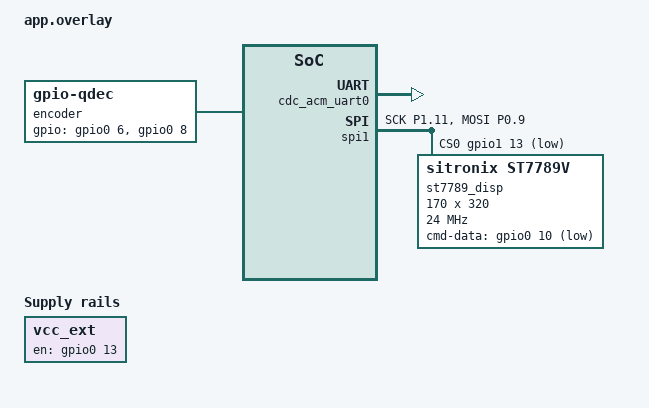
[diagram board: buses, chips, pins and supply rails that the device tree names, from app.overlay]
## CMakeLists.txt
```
cmake_minimum_required(VERSION 3.20.0)
find_package(Zephyr REQUIRED HINTS $ENV{ZEPHYR_BASE})
project(ai_pager)
target_sources(app PRIVATE src/main.c)
```

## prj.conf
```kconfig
# Hardware drivers
CONFIG_GPIO=y
CONFIG_SPI=y
CONFIG_DISPLAY=y
CONFIG_ST7789V=y
CONFIG_INPUT=y
CONFIG_INPUT_GPIO_QDEC=y
CONFIG_PWM=y

# USB CDC console
CONFIG_USB_DEVICE_STACK=y
CONFIG_USB_DEVICE_PRODUCT="AI Pager"
CONFIG_USB_DEVICE_VID=0x2FE3
CONFIG_USB_DEVICE_PID=0x0100
CONFIG_SERIAL=y
CONFIG_CONSOLE=y
CONFIG_UART_CONSOLE=y
CONFIG_UART_LINE_CTRL=y

# Memory and threads
CONFIG_MAIN_STACK_SIZE=4096
CONFIG_SYSTEM_WORKQUEUE_STACK_SIZE=2048
CONFIG_HEAP_MEM_POOL_SIZE=16384

# LVGL graphics
CONFIG_LVGL=y
CONFIG_LV_Z_MEM_POOL_SIZE=16384
CONFIG_LV_COLOR_DEPTH_16=y
CONFIG_LV_FONT_MONTSERRAT_14=y
```

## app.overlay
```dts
#include <zephyr/dt-bindings/input/input-event-codes.h>

/* Disable board peripherals that are not used by this application. */
&{/leds} { status = "disabled"; };
&{/buttons} { status = "disabled"; };
&{/pwmleds} { status = "disabled"; };

&uart0 { status = "disabled"; };
&uart1 { status = "disabled"; };
&i2c0 { status = "disabled"; };
&i2c1 { status = "disabled"; };
&spi0 { status = "disabled"; };
&spi2 { status = "disabled"; };
&spi3 { status = "disabled"; };
&qspi { status = "disabled"; };

/ {
    chosen {
        zephyr,display = &st7789_disp;
        zephyr,console = &cdc_acm_uart0;
    };

    vcc_ext: vcc_ext_regulator {
        compatible = "regulator-fixed";
        regulator-name = "vcc_ext";
        enable-gpios = <&gpio0 13 GPIO_ACTIVE_HIGH>;
        startup-delay-us = <10000>;
        regulator-always-on;
    };

    encoder: encoder {
        compatible = "gpio-qdec";
        gpios = <&gpio0 6 (GPIO_ACTIVE_HIGH | GPIO_PULL_UP)>,
                <&gpio0 8 (GPIO_ACTIVE_HIGH | GPIO_PULL_UP)>;
        steps-per-period = <4>;
        zephyr,axis = <INPUT_REL_WHEEL>;
        sample-time-us = <2000>;
        idle-timeout-ms = <200>;
    };
};

&zephyr_udc0 {
    cdc_acm_uart0: cdc_acm_uart0 {
        compatible = "zephyr,cdc-acm-uart";
    };
};

&pinctrl {
    spi1_custom_default: spi1_custom_default {
        group1 {
            psels = <NRF_PSEL(SPIM_SCK, 1, 11)>,
                    <NRF_PSEL(SPIM_MOSI, 0, 9)>;
        };
    };
    spi1_custom_sleep: spi1_custom_sleep {
        group1 {
            psels = <NRF_PSEL(SPIM_SCK, 1, 11)>,
                    <NRF_PSEL(SPIM_MOSI, 0, 9)>;
            low-power-enable;
        };
    };
};

&spi1 {
    status = "okay";
    cs-gpios = <&gpio1 13 GPIO_ACTIVE_LOW>;
    pinctrl-0 = <&spi1_custom_default>;
    pinctrl-1 = <&spi1_custom_sleep>;
    pinctrl-names = "default", "sleep";

    st7789_disp: st7789@0 {
        compatible = "sitronix,st7789v";
        reg = <0>;
        spi-max-frequency = <24000000>;
        cmd-data-gpios = <&gpio0 10 GPIO_ACTIVE_LOW>;
        width = <170>;
        height = <320>;
        x-offset = <35>;
        y-offset = <0>;
        vcom = <0x19>;
        gctrl = <0x35>;
        vrhs = <0x12>;
        vdvs = <0x20>;
        mdac = <0x00>;
        gamma = <0x01>;
        colmod = <0x05>;
        lcm = <0x2c>;
        porch-param = [0c 0c 00 33 33];
        cmd2en-param = [5a 69 02 01];
        pwctrl1-param = [a4 a1];
        pvgam-param = [d0 04 0d 11 13 2b 3f 54 4c 18 0d 0b 1f 23];
        nvgam-param = [d0 04 0c 11 13 2c 3f 44 51 2f 1f 1f 20 23];
        ram-param = [00 f0];
        rgb-param = [cd 08 14];
    };
};
```

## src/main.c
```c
/**
 * @file main.c
 * @brief NEON CODE PAGER 01 - 蓝牙/USB 极客 AI 审批寻呼机固件
 */

#include <zephyr/kernel.h>
#include <zephyr/device.h>
#include <zephyr/drivers/display.h>
#include <zephyr/drivers/gpio.h>
#include <zephyr/usb/usb_device.h>
#include <zephyr/logging/log.h>
#include <lvgl.h>
#include <stdio.h>
#include <string.h>

LOG_MODULE_REGISTER(main, LOG_LEVEL_INF);

/* 配色定义 (RGB888 宏) */
#define COLOR_BG          lv_color_hex(0x060C08) // 极深墨绿
#define COLOR_NEON_GREEN  lv_color_hex(0x29F27D) // 荧光青绿
#define COLOR_CYAN        lv_color_hex(0x00F0FF) // 亮青色
#define COLOR_AMBER       lv_color_hex(0xFFB703) // 橙黄色卡片
#define COLOR_CARD_BG     lv_color_hex(0x13241B) // 深绿卡片底色
#define COLOR_TEXT_DIM    lv_color_hex(0x80998A) // 暗绿文字

/* 全局 UI 控件指针 */
static lv_obj_t *label_project;
static lv_obj_t *label_status;
static lv_obj_t *label_feedback;
static lv_obj_t *label_reminder;
static lv_obj_t *label_hint;
static lv_obj_t *banner_card;

/* 20x20 招手小怪兽 Avatar 像素点阵 (保存在 Flash 只读段) */
static const uint8_t monster_map[20][20] = {
    {0,0,0,0,0,1,1,0,0,0,0,0,0,1,1,0,0,0,0,0},
    {0,0,0,0,1,2,2,1,0,0,0,0,1,2,2,1,0,0,0,0},
    {0,0,0,1,2,2,2,2,1,1,1,1,2,2,2,2,1,0,0,0},
    {0,0,1,2,2,2,2,2,2,2,2,2,2,2,2,2,2,1,0,0},
    {0,1,2,2,2,2,2,2,2,2,2,2,2,2,2,2,2,2,1,0},
    {0,1,2,2,3,3,2,2,2,2,2,2,3,3,2,2,2,2,1,1},
    {1,2,2,3,4,4,3,2,2,2,2,3,4,4,3,2,2,2,2,1},
    {1,2,2,3,4,4,3,2,2,2,2,3,4,4,3,2,2,2,2,1},
    {1,2,2,2,3,3,2,2,2,2,2,2,3,3,2,2,2,2,2,1},
    {0,1,2,2,2,2,2,2,2,2,2,2,2,2,2,2,2,2,1,0},
    {0,0,1,2,2,2,3,3,3,3,3,3,2,2,2,2,2,1,0,0},
    {0,0,0,1,2,3,4,4,4,4,4,4,3,2,2,2,1,0,0,0},
    {0,0,0,1,2,3,4,4,4,4,4,4,3,2,2,2,1,0,0,0},
    {0,0,0,0,1,2,3,3,3,3,3,3,2,2,2,1,0,0,0,0},
    {0,0,0,1,2,2,2,2,2,2,2,2,2,2,2,2,1,0,0,0},
    {0,0,1,2,2,2,2,2,2,2,2,2,2,2,2,2,2,1,0,0},
    {0,0,1,2,2,1,0,0,0,0,0,0,1,2,2,1,0,0,0,0},
    {0,0,1,2,1,0,0,0,0,0,0,0,0,1,2,1,0,0,0,0},
    {0,0,1,1,0,0,0,0,0,0,0,0,0,0,1,1,0,0,0,0},
    {0,0,0,0,0,0,0,0,0,0,0,0,0,0,0,0,0,0,0,0}
};

/* 动态绘制小怪兽 Canvas */
static void create_avatar(lv_obj_t *parent) {
    lv_obj_t *avatar_box = lv_obj_create(parent);
    lv_obj_set_size(avatar_box, 86, 92);
    lv_obj_set_pos(avatar_box, 10, 26);
    lv_obj_set_style_bg_color(avatar_box, lv_color_hex(0x0A1810), 0);
    lv_obj_set_style_border_color(avatar_box, COLOR_NEON_GREEN, 0);
    lv_obj_set_style_border_width(avatar_box, 1, 0);
    lv_obj_set_style_radius(avatar_box, 6, 0);
    lv_obj_clear_flag(avatar_box, LV_OBJ_FLAG_SCROLLABLE);

    /* 内部小怪兽像素画布 (使用静态分配内存) */
    static lv_color_t cbuf[80 * 70];
    lv_obj_t *canvas = lv_canvas_create(avatar_box);
    lv_canvas_set_buffer(canvas, cbuf, 80, 70, LV_IMG_CF_TRUE_COLOR);
    lv_obj_align(canvas, LV_ALIGN_TOP_MID, 0, 0);
    lv_canvas_fill_bg(canvas, lv_color_hex(0x0A1810), LV_OPA_COVER);

    int scale = 3;
    for (int y = 0; y < 20; y++) {
        for (int x = 0; x < 20; x++) {
            uint8_t p = monster_map[y][x];
            lv_color_t color;
            if (p == 1) color = COLOR_NEON_GREEN;
            else if (p == 2) color = lv_color_hex(0x55FFAA);
            else if (p == 3) color = lv_color_black();
            else if (p == 4) color = lv_color_hex(0xFF3366);
            else continue;

            for (int dy = 0; dy < scale; dy++) {
                for (int dx = 0; dx < scale; dx++) {
                    lv_canvas_set_px_color(canvas, 10 + x * scale + dx, 5 + y * scale + dy, color);
                }
            }
        }
    }

    /* 状态标签 */
    lv_obj_t *tag = lv_label_create(avatar_box);
    lv_label_set_text(tag, "ACTIVE");
    lv_obj_set_style_text_color(tag, COLOR_CYAN, 0);
    lv_obj_set_style_text_font(tag, &lv_font_montserrat_14, 0);
    lv_obj_align(tag, LV_ALIGN_BOTTOM_MID, 0, 2);
}

/* 构建主屏幕界面 (严格对照图片 320x170 布局) */
static void build_pager_ui(void) {
    lv_obj_t *scr = lv_scr_act();
    lv_obj_set_style_bg_color(scr, COLOR_BG, 0);
    lv_obj_clear_flag(scr, LV_OBJ_FLAG_SCROLLABLE);

    /* 1. 顶部标题栏 */
    lv_obj_t *top_bar = lv_obj_create(scr);
    lv_obj_set_size(top_bar, 320, 22);
    lv_obj_set_pos(top_bar, 0, 0);
    lv_obj_set_style_bg_color(top_bar, lv_color_hex(0x0E1F15), 0);
    lv_obj_set_style_border_color(top_bar, COLOR_NEON_GREEN, 0);
    lv_obj_set_style_border_side(top_bar, LV_BORDER_SIDE_BOTTOM, 0);
    lv_obj_set_style_border_width(top_bar, 1, 0);
    lv_obj_set_style_radius(top_bar, 0, 0);

    label_project = lv_label_create(top_bar);
    lv_label_set_text(label_project, "AI LINK: CLAUDE_CODE: ACTIVE");
    lv_obj_set_style_text_color(label_project, COLOR_NEON_GREEN, 0);
    lv_obj_set_style_text_font(label_project, &lv_font_montserrat_14, 0);
    lv_obj_align(label_project, LV_ALIGN_LEFT_MID, 6, 0);

    /* 2. 左侧像素伴侣 */
    create_avatar(scr);

    /* 3. 右侧状态信息区 */
    label_status = lv_label_create(scr);
    lv_label_set_text(label_status, "STATUS: LISTENING");
    lv_obj_set_style_text_color(label_status, lv_color_white(), 0);
    lv_obj_set_style_text_font(label_status, &lv_font_montserrat_14, 0);
    lv_obj_set_pos(label_status, 106, 26);

    label_feedback = lv_label_create(scr);
    lv_label_set_text(label_feedback, "NEW AI FEEDBACK:\nACTION REQUIRED");
    lv_obj_set_style_text_color(label_feedback, COLOR_CYAN, 0);
    lv_obj_set_style_text_font(label_feedback, &lv_font_montserrat_14, 0);
    lv_obj_set_pos(label_feedback, 106, 44);

    /* 4. 黄色高亮审批卡片 */
    banner_card = lv_obj_create(scr);
    lv_obj_set_size(banner_card, 208, 42);
    lv_obj_set_pos(banner_card, 104, 76);
    lv_obj_set_style_bg_color(banner_card, COLOR_CARD_BG, 0);
    lv_obj_set_style_border_color(banner_card, COLOR_AMBER, 0);
    lv_obj_set_style_border_width(banner_card, 1, 0);
    lv_obj_set_style_radius(banner_card, 4, 0);
    lv_obj_clear_flag(banner_card, LV_OBJ_FLAG_SCROLLABLE);

    label_reminder = lv_label_create(banner_card);
    lv_label_set_text(label_reminder, "! REVIEW PULL REQUEST #401");
    lv_obj_set_style_text_color(label_reminder, COLOR_AMBER, 0);
    lv_obj_set_style_text_font(label_reminder, &lv_font_montserrat_14, 0);
    lv_obj_align(label_reminder, LV_ALIGN_TOP_LEFT, -2, -4);

    label_hint = lv_label_create(banner_card);
    lv_label_set_text(label_hint, "(CLICK RKJXT)");
    lv_obj_set_style_text_color(label_hint, lv_color_white(), 0);
    lv_obj_set_style_text_font(label_hint, &lv_font_montserrat_14, 0);
    lv_obj_align(label_hint, LV_ALIGN_BOTTOM_LEFT, -2, 4);

    /* 5. 底部 HUD 按键指示条 */
    lv_obj_t *bot_bar = lv_obj_create(scr);
    lv_obj_set_size(bot_bar, 320, 24);
    lv_obj_set_pos(bot_bar, 0, 146);
    lv_obj_set_style_bg_color(bot_bar, lv_color_hex(0x051009), 0);
    lv_obj_set_style_border_color(bot_bar, lv_color_hex(0x183822), 0);
    lv_obj_set_style_border_side(bot_bar, LV_BORDER_SIDE_TOP, 0);
    lv_obj_set_style_radius(bot_bar, 0, 0);

    lv_obj_t *hud_y = lv_label_create(bot_bar);
    lv_label_set_text(hud_y, "[Y] Yes");
    lv_obj_set_style_text_color(hud_y, COLOR_NEON_GREEN, 0);
    lv_obj_align(hud_y, LV_ALIGN_LEFT_MID, 16, 0);

    lv_obj_t *hud_n = lv_label_create(bot_bar);
    lv_label_set_text(hud_n, "[N] No");
    lv_obj_set_style_text_color(hud_n, lv_color_hex(0xFF5555), 0);
    lv_obj_align(hud_n, LV_ALIGN_CENTER, 0, 0);

    lv_obj_t *hud_opt = lv_label_create(bot_bar);
    lv_label_set_text(hud_opt, "[DETAIL] View");
    lv_obj_set_style_text_color(hud_opt, COLOR_CYAN, 0);
    lv_obj_align(hud_opt, LV_ALIGN_RIGHT_MID, -16, 0);
}

/* 主线程入口 */
int main(void) {
    const struct device *display_dev = DEVICE_DT_GET(DT_CHOSEN(zephyr_display));

    if (!device_is_ready(display_dev)) {
        LOG_ERR("显示设备未就绪");
        return 0;
    }

    /* 启动 USB CDC ACM 虚拟串口 */
    if (usb_enable(NULL)) {
        LOG_ERR("USB 初始化失败");
    }

    /* 开启屏幕显示并渲染 UI */
    display_blanking_off(display_dev);
    build_pager_ui();

    /* 主循环: 周期性让 LVGL 处理渲染刷新 */
    while (1) {
        lv_task_handler();
        k_msleep(5);
    }
    return 0;
}
```
